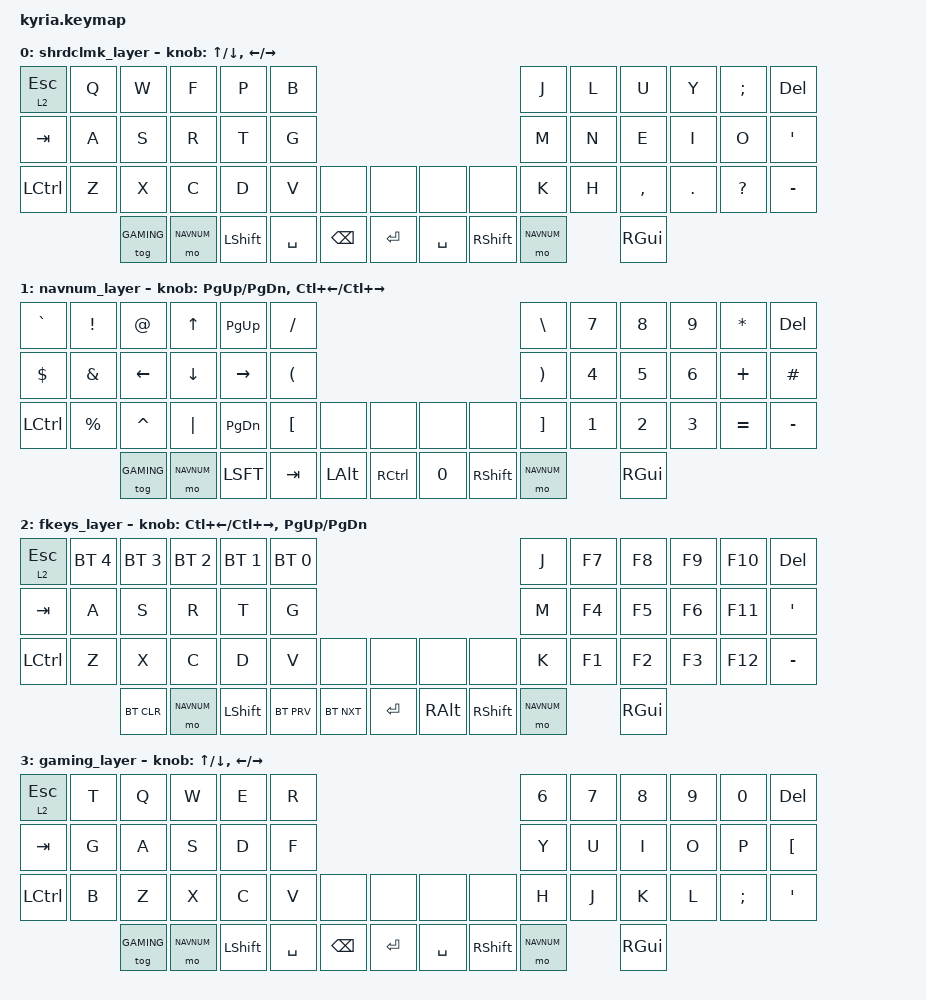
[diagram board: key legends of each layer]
/*
 * Copyright (c) 2020 The ZMK Contributors
 *
 * SPDX-License-Identifier: MIT
 */

#include <behaviors.dtsi>
#include <dt-bindings/zmk/keys.h>
#include <dt-bindings/zmk/bt.h>

#define SHRDCLMK 	0
#define NAVNUM 		1
#define FKEYS 		2
#define GAMING 		3

/ {
	keymap {
		compatible = "zmk,keymap";

		shrdclmk_layer {
// ,-------------------------------------------.                              ,-------------------------------------------.
// |FKys/ESC|   Q  |   W  |   F  |   P  |   B  |                              |   J  |   L  |   U  |   Y  | ;  : |  Del   |
// |--------+------+------+------+------+------|                              |------+------+------+------+------+--------|
// |  TAB   |   A  |   S  |   R  |   T  |   G  |                              |   M  |   N  |   E  |   I  |  O   |  ' "   |
// |--------+------+------+------+------+------+-------------.  ,-------------+------+------+------+------+------+--------|
// |  LCtrl |   Z  |   X  |   C  |   D  |   V  |      |      |  |      |      |   K  |   H  | ,  < | . >  |  ?   |  - _   |
// `----------------------+------+------+------|Space |Backsp|  |Enter |Space |------+------+------+----------------------'
//                        | Tog 3| MO(2)|LShift|      |      |  |      |      |RShift| MO(2)|R GUI |
//                        |      |      |      |      |      |  |      |      |      |      |      |
//                        `----------------------------------'  `----------------------------------'
			bindings = <
	&lt 2 ESC   &kp Q 	&kp W 		&kp F 		&kp P 		&kp B                                                	&kp J &kp L  &kp U     &kp Y   &kp SEMI  &kp DEL
	&kp TAB   	&kp A 	&kp S 		&kp R 		&kp T 		&kp G                                                	&kp M &kp N  &kp E     &kp I   &kp O 	 &kp SQT
	&kp LCTRL 	&kp Z 	&kp X 		&kp C 		&kp D 		&kp V 		&none 		&none    &none 		&none 		&kp K &kp H  &kp COMMA &kp DOT &kp QMARK &kp MINUS
						&tog GAMING	&mo NAVNUM 	&kp LSHFT 	&kp SPACE 	&kp BSPC    &kp RET  &kp SPACE  &kp RSHFT 	&mo NAVNUM 	 &kp RGUI
			>;
			sensor-bindings = <&inc_dec_kp UP DOWN &inc_dec_kp LEFT RIGHT>;
		};
		
		navnum_layer {
// NAVNUM Layer: Symbols & Navigation
//
// ,-------------------------------------------.                              ,-------------------------------------------.
// |   `~   |  !   |  @   |  Up  | PgUp |  /?  |                              |   \  |  7   |  8   |  9   |  *   |  Del   |
// |--------+------+------+------+------+------|                              |------+------+------+------+------+--------|
// |    $   |  &   | Left | Down | Right|  (   |                              |   )  |  4   |  5   |  6   |  +   |   #    |
// |--------+------+------+------+------+------+-------------.  ,-------------+------+------+------+------+------+--------|
// |  LCtrl |  %   |  ^   |  |\  | PgDn |  [{  |      |      |  |      |      |  ]}  |  1   |  2   |  3   |  =   |  - _   |
// `----------------------+------+------+------|  Tab | LAlt |  | RCtrl| Zero |------+------+------+----------------------'
//                        | Tog 3| MO(2)|LShift|      |      |  |      |      |RShift| MO(2)|R GUI |
//                        |      |      |      |      |      |  |      |      |      |      |      |
//                        `----------------------------------'  `----------------------------------'
			bindings = <
	&kp GRAVE	&kp EXCL	&kp AT		&kp UP			&kp PG_UP	&kp FSLH                                                		&kp BSLH	&kp N7  	&kp N8     	&kp N9  &kp STAR   	&kp DEL
	&kp DLLR	&kp AMPS	&kp LEFT	&kp DOWN		&kp RIGHT	&kp LPAR                                                		&kp RPAR	&kp N4 		&kp N5    	&kp N6	&kp PLUS	&kp HASH
	&kp LCTRL	&kp PRCNT	&kp CARET	&kp PIPE		&kp PG_DN	&kp LBKT	&none		&none			&none		&none		&kp RBKT	&kp N1		&kp N2		&kp N3	&kp EQUAL	&kp MINUS
										&tog GAMING		&mo NAVNUM	&kp LSFT	&kp TAB		&kp LALT		&kp RCTRL	&kp N0		&kp RSHFT	&mo NAVNUM	&kp RGUI
			>;
			sensor-bindings = <&inc_dec_kp PG_UP PG_DN &inc_dec_kp LC(LEFT) LC(RIGHT)>;
		};

		fkeys_layer {
// F-Keys Layer
//
// ,-------------------------------------------.                              ,-------------------------------------------.
// |FKys/ESC|  BT4 |  BT3 |  BT2 |  BT1 |  BT0 |                              |   J  |  F7  |  F8  |  F9  | F10  |  Del   |
// |--------+------+------+------+------+------|                              |------+------+------+------+------+--------|
// |  TAB   |   A  |   S  |   R  |   T  |   G  |                              |   M  |  F4  |  F5  |  F6  | F11  |  ' "   |
// |--------+------+------+------+------+------+-------------.  ,-------------+------+------+------+------+------+--------|
// |  LCtrl |   Z  |   X  |   C  |   D  |   V  |      |      |  |      |      |   K  |  F1  |  F2  |  F3  | F12  |  - _   |
// `----------------------+------+------+------|BTNext|BTPrev|  |Enter |Space |------+------+------+----------------------'
//                        |BT Clr| MO(2)|LShift|      |      |  |      |      |RShift| MO(2)|R GUI |
//                        |      |      |      |      |      |  |      |      |      |      |      |
//                        `----------------------------------'  `----------------------------------'
			bindings = <
	&lt 2 ESC	&bt BT_SEL 4	&bt BT_SEL 3	&bt BT_SEL 2	&bt BT_SEL 1	&bt BT_SEL 0              				&kp J		&kp F7	&kp F8	&kp F9		&kp F10		&kp DEL
	&kp TAB		&kp A	&kp S		&kp R		&kp T		&kp G                                           			&kp M		&kp F4	&kp F5	&kp F6		&kp F11		&kp SQT
	&kp LCTRL	&kp Z	&kp X		&kp C		&kp D		&kp V 		&none		&none		&none		&none		&kp K		&kp F1	&kp F2	&kp F3		&kp F12		&kp MINUS
									&bt  BT_CLR	&mo NAVNUM	&kp LSHFT	&bt BT_PRV	&bt BT_NXT	&kp RET		&kp RALT	&kp RSHFT	&mo NAVNUM	&kp RGUI
			>;
			sensor-bindings = <&inc_dec_kp LC(LEFT) LC(RIGHT) &inc_dec_kp PG_UP PG_DN>;
		};
		
		gaming_layer {
// GAMING Layer
//
// ,-------------------------------------------.                              ,-------------------------------------------.
// |FKys/ESC|   T  |   Q  |   W  |   E  |   R  |                              |   6  |   7  |   8  |   9  |   0  |  Del   |
// |--------+------+------+------+------+------|                              |------+------+------+------+------+--------|
// |  TAB   |   G  |   A  |   S  |   D  |   F  |                              |   Y  |   U  |   I  |   O  |   P  |  [ {   |
// |--------+------+------+------+------+------+-------------.  ,-------------+------+------+------+------+------+--------|
// |  LCtrl |   B  |   Z  |   X  |   C  |   V  |      |      |  |      |      |   H  |   J  |   K  |   L  | ;  : |  ' "   |
// `----------------------+------+------+------| Space|Backsp|  |Enter |   N  |------+------+------+----------------------'
//                        | Tog 3| MO(2)|LShift|      |      |  |      |      |   M  | MO(2)|R GUI |
//                        |      |      |      |      |      |  |      |      |      |      |      |
//                        `----------------------------------'  `----------------------------------'
			bindings = <
	&lt 2 ESC	&kp T		&kp Q		&kp W				&kp E		&kp R                                           			&kp N6		&kp N7		&kp N8		&kp N9		&kp N0		&kp DEL
	&kp TAB		&kp G		&kp A		&kp S				&kp D		&kp F                                           			&kp Y		&kp U		&kp I		&kp O		&kp P		&kp LBKT
	&kp LCTRL	&kp B		&kp Z		&kp X				&kp C		&kp V 		&none		&none		&none		&none		&kp H		&kp J		&kp K		&kp L		&kp SEMI	&kp SQT
										&tog GAMING			&mo NAVNUM 	&kp LSHFT	&kp SPACE 	&kp BSPC	&kp RET		&kp SPACE	&kp RSHFT	&mo NAVNUM	&kp RGUI
			>;
			sensor-bindings = <&inc_dec_kp UP DOWN &inc_dec_kp LEFT RIGHT>;
		};	
	};
};
